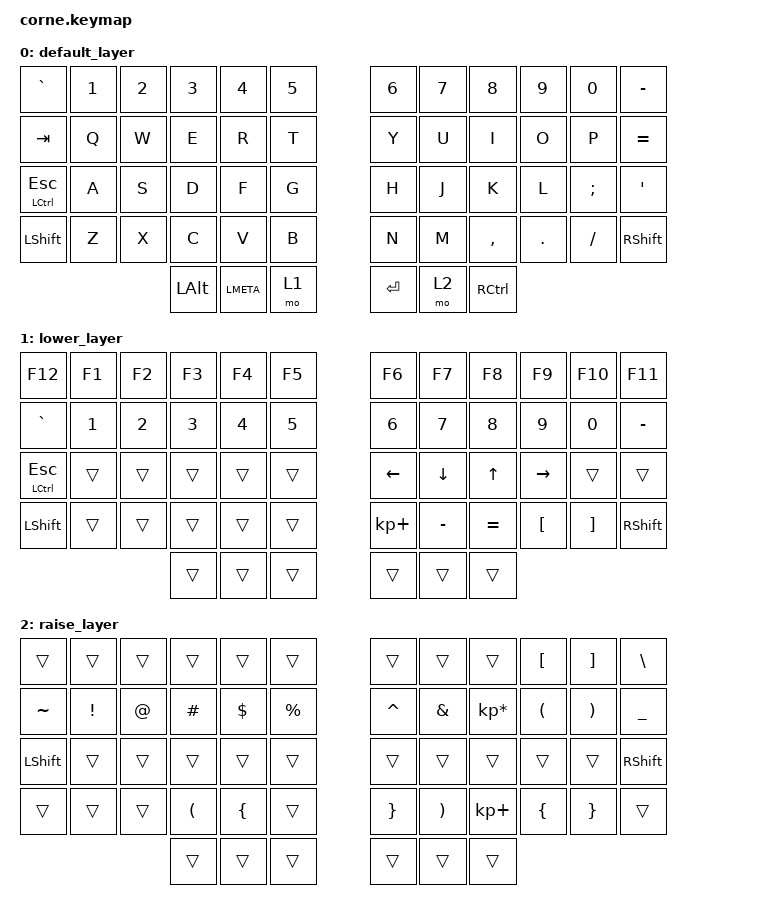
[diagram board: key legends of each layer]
/*
 * Copyright (c) 2020 The ZMK Contributors
 *
 * SPDX-License-Identifier: MIT
 */

#include <behaviors.dtsi>
#include <dt-bindings/zmk/keys.h>

/ {
    combos {
        compatible = "zmk,combos";

        Escape {
            bindings = <&kp ESC>;
            key-positions = <0 11>;
        };

        OpenParenthesis {
            bindings = <&kp LEFT_PARENTHESIS>;
            key-positions = <6 7>;
        };

        OpenBrace {
            bindings = <&kp LEFT_BRACE>;
            key-positions = <18 19>;
        };

        OpenBracket {
            bindings = <&kp LEFT_BRACKET>;
            key-positions = <30 31>;
        };

        CloseParenthasis {
            bindings = <&kp RIGHT_PARENTHESIS>;
            key-positions = <8 7>;
        };

        CloseBrace {
            bindings = <&kp RIGHT_BRACE>;
            key-positions = <19 20>;
        };

        CloseBracket {
            bindings = <&kp RIGHT_BRACKET>;
            key-positions = <31 32>;
        };

        LessThan {
            bindings = <&kp LESS_THAN>;
            key-positions = <3 4>;
        };

        GreatherThan {
            bindings = <&kp GREATER_THAN>;
            key-positions = <4 5>;
        };

        Enter {
            bindings = <&kp ENTER>;
            key-positions = <38 39>;
        };
    };

    keymap {
        compatible = "zmk,keymap";

        default_layer {
            // -----------------------------------------------------------------------------------------
            // |   `      |  1  |  2  |  3   |  4   |  5   |   |  6   |  7    |  8    |  9   |   0   |   -   |
            // |  TAB     |  Q  |  W  |  E   |  R   |  T   |   |  Y   |  U    |  I    |  O   |   P   |   =   |
            // |hCTRL tESC|  A  |  S  |  D   |  F   |  G   |   |  H   |  J    |  K    |  L   |   ;   |   '   |
            // | SHIFT    |  Z  |  X  |  C   |  V   |  B   |   |  N   |  M    |  ,    |  .   |   /   | SHIFT |
            //                        | ALT  | GUI  | LOWER|   | ENTER| RAISE | CTRL  |

            bindings = <
      &kp GRAVE  &kp N1  &kp N2    &kp N3     &kp N4    &kp N5        &kp N6  &kp N7     &kp N8    &kp N9    &kp N0    &kp MINUS
      &kp TAB    &kp Q   &kp W     &kp E      &kp R     &kp T         &kp Y   &kp U      &kp I     &kp O     &kp P     &kp EQUAL
&mt LCTRL ESC    &kp A   &kp S     &kp D      &kp F     &kp G         &kp H   &kp J      &kp K     &kp L     &kp SEMI  &kp SQT
    &kp LSHFT    &kp Z   &kp X     &kp C      &kp V     &kp B         &kp N   &kp M      &kp COMMA &kp DOT   &kp FSLH  &kp RSHFT
                                   &kp LALT   &kp LMETA &mo 1         &kp RET &mo 2      &kp RCTRL
            >;
        };

        lower_layer {
            // -----------------------------------------------------------------------------------------
            // |  F12    |  F1 |  F2 |  F3  |  F4  |  F5  |   |  F6  |   F7  |   F8  |  F9  |  F10  |  F11  |
            // |   `     |  1  |  2  |  3   |  4   |  5   |   |  6   |   7   |   8   |  9   |   0   |   -   |
            // |CTRL/ESC |     |     |      |      |      |   |  <-  |   ^   |   v   |  ->  |       |       |
            // | SHIFT   |     |     |      |      |      |   |  +   |   -   |   =   |  [   |   ]   |   \   |
            //                       |      |      |      |   |      |       |       |

            bindings = <
      &kp F12  &kp F1  &kp F2  &kp F3  &kp F4  &kp F5         &kp F6       &kp F7     &kp F8     &kp F9    &kp F10   &kp F11
    &kp GRAVE  &kp N1  &kp N2  &kp N3  &kp N4  &kp N5         &kp N6       &kp N7     &kp N8     &kp N9    &kp N0    &kp MINUS
&mt LCTRL ESC  &trans  &trans  &trans  &trans  &trans         &kp LEFT     &kp DOWN   &kp UP     &kp RIGHT &trans    &trans
   &kp LSHIFT  &trans  &trans  &trans  &trans  &trans         &kp KP_PLUS  &kp MINUS  &kp EQUAL  &kp LBKT  &kp RBKT  &kp RIGHT_SHIFT
                               &trans  &trans  &trans         &trans       &trans     &trans
            >;
        };

        raise_layer {
            // -----------------------------------------------------------------------------------------
            // |          |         |        |      |       |      |   |      |       |       |  [   |   ]   |   \   |
            // |   ~      |  !      |  @     |  #   |  $    |  %   |   |  ^   |  &    |  *    |  (   |   )   |   _   |
            // | SHIFT    |         |        |      |       |      |   |      |       |       |      |       |       |
            // |          |         |        |      |  (    |  {   |   |  }   |  )    |  +    |  {   |   }   |       |
            //                               |      |       |      |   |      |       |       |

            bindings = <
    &trans       &trans        &trans        &trans        &trans        &trans                 &trans     &trans      &trans          &kp LBKT   &kp RBKT  &kp BSLH
    &kp TILDE    &kp EXCL      &kp AT        &kp HASH      &kp DOLLAR    &kp PRCNT              &kp CARET  &kp AMPS    &kp KP_MULTIPLY &kp LPAR   &kp RPAR  &kp UNDER
    &kp LSHIFT   &trans        &trans        &trans        &trans        &trans                 &trans     &trans      &trans          &trans     &trans    &kp RSHFT
    &trans       &trans        &trans        &kp LPAR      &kp LBRC      &trans                 &kp RBRC   &kp RPAR    &kp KP_PLUS     &kp LBRC   &kp RBRC  &trans
                                             &trans        &trans        &trans                 &trans     &trans      &trans    
            >;
        };
    };
};
